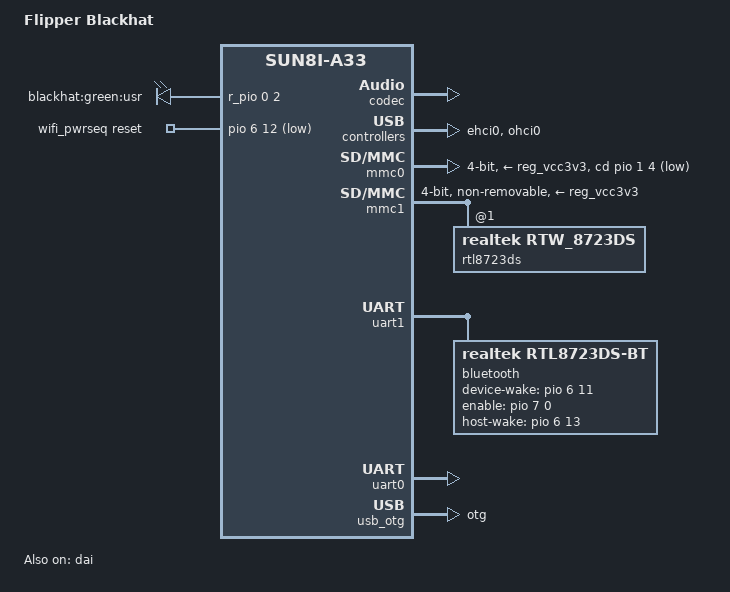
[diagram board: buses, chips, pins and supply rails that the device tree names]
/dts-v1/;
#include "sun8i-a33.dtsi"
#include "sunxi-common-regulators.dtsi"

#include <dt-bindings/gpio/gpio.h>
#include <dt-bindings/input/input.h>

/ {
    model = "Flipper Blackhat";
    compatible = "allwinner,sun8i-a33";

    aliases {
        ethernet0 = &rtl8723ds;
        serial0 = &uart0;
    };

    chosen {
        stdout-path = "serial0:115200n8";
    };

    leds {
        compatible = "gpio-leds";

        led {
            label = "blackhat:green:usr";
            gpios = <&r_pio 0 2 GPIO_ACTIVE_HIGH>; /* PL2 */
        };
    };

    wifi_pwrseq: wifi-pwrseq {
        compatible = "mmc-pwrseq-simple";
        reset-gpios = <&pio 6 12 GPIO_ACTIVE_LOW>; /* PG12 */
    };
};

&codec {
    status = "okay";
};

&dai {
    status = "okay";
};

&ehci0 {
    status = "okay";
};

&reg_vcc3v3 {
    status = "okay";
};

&mmc0 {
    vmmc-supply = <&reg_vcc3v3>;
    bus-width = <4>;
    cd-gpios = <&pio 1 4 GPIO_ACTIVE_LOW>; /* PB4 */
    status = "okay";
};

&mmc1 {
    vmmc-supply = <&reg_vcc3v3>;
    vqmmc-supply = <&reg_vcc3v3>;
    bus-width = <4>;
    mmc-pwrseq = <&wifi_pwrseq>;
    pinctrl-0 = <&mmc1_pg_pins>;
    pinctrl-names = "default";
    status = "okay";
    non-removable;
    no-sd;
    no-mmc;

    rtl8723ds: wifi@1 {
        compatible = "realtek,rtw_8723ds";
        reg = <1>;
    };
};

&uart1 {
    uart-has-rtscts;
    pinctrl-0 = <&uart1_pg_pins>, <&uart1_cts_rts_pg_pins>;
    pinctrl-names = "default";
    status = "okay";

    bluetooth {
        compatible = "realtek,rtl8723ds-bt";
        device-wake-gpios = <&pio 6 11 GPIO_ACTIVE_HIGH>; /* PG11 */
        enable-gpios = <&pio 7 0 GPIO_ACTIVE_HIGH>; /* PH0 */
        host-wake-gpios = <&pio 6 13 GPIO_ACTIVE_HIGH>; /* PG13 */
    };
};

&ohci0 {
    status = "okay";
};

&sound {
    /* Board level jack widgets */
    simple-audio-card,widgets = "Microphone", "Microphone Jack",
                    "Headphone", "Headphone Jack";
    /* Board level routing. First 2 routes copied from SoC level */
    simple-audio-card,routing =
        "Left DAC", "DACL",
        "Right DAC", "DACR",
        "HP", "HPCOM",
        "Headphone Jack", "HP",
        "MIC1", "Microphone Jack",
        "Microphone Jack", "MBIAS";
    status = "okay";
};

&uart0 {
    pinctrl-names = "default";
    pinctrl-0 = <&uart0_pb_pins>;
    status = "okay";
};

&usb_otg {
    dr_mode = "otg";
    status = "okay";
};
